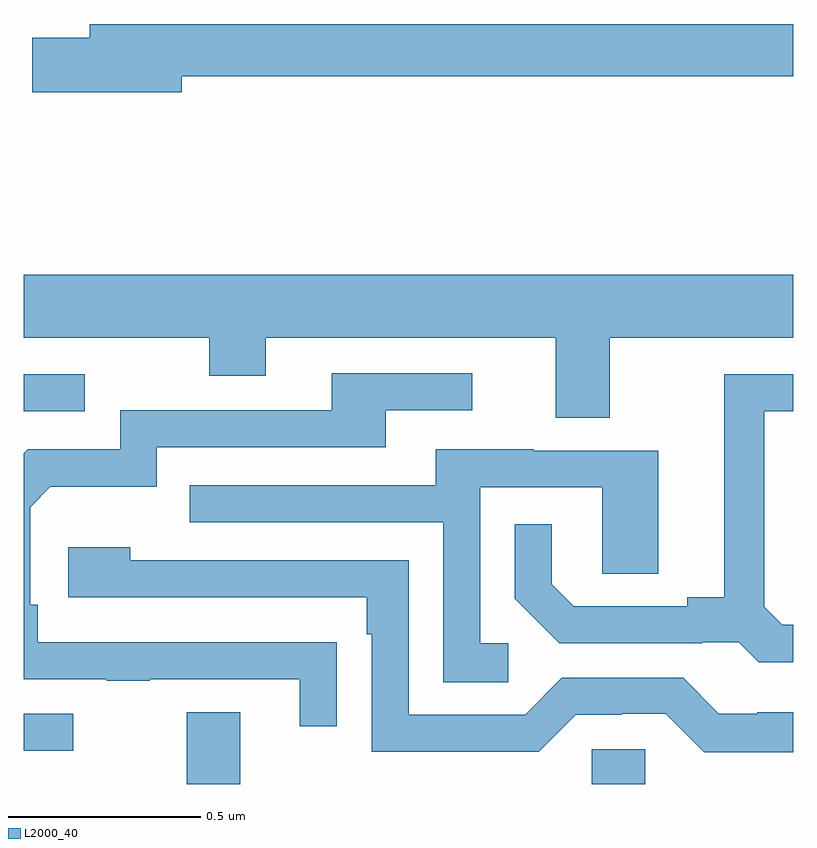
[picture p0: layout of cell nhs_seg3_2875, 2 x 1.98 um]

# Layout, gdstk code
import gdstk
lib = gdstk.Library(unit=1e-6, precision=1e-09)
def R(c, l, rs):  # rectangles x0, y0, x1, y1
    for r in rs: c.add(gdstk.rectangle(r[:2], r[2:], *l))
def P(c, l, *ps):  # polygons
    for p in ps: c.add(gdstk.Polygon(p, *l))
L2000_40 = (2000, 40)

nhs_seg3_2875 = lib.new_cell('nhs_seg3_2875')
R(nhs_seg3_2875, L2000_40, [(146.423,722.4,146.563,722.587), (147.477,722.4,147.615,722.49), (146,722.487,146.128,722.583), (146,723.369,146.158,723.465)])
P(nhs_seg3_2875, L2000_40, [(146.41,724.24),(148,724.24),(148,724.376),(146.171,724.376),(146.171,724.34),(146.022,724.34),(146.022,724.198),(146.41,724.198)],
  [(147.523,723.56),(148,723.56),(148,723.724),(146,723.724),(146,723.56),(146.482,723.56),(146.482,723.461),(146.629,723.461),(146.629,723.56),(147.383,723.56),(147.383,723.352),(147.523,723.352)],
  [(146.813,722.768),(146.711,722.768),(146.711,722.769),(146.036,722.769),(146.036,722.866),(146.016,722.866),(146.016,723.12),(146.069,723.173),(146.346,723.173),(146.346,723.276),(146.941,723.276),(146.941,723.372),(147.166,723.372),(147.166,723.468),(146.801,723.468),(146.801,723.372),(146.25,723.372),(146.25,723.27),(146.01,723.27),(146,723.26),(146,722.673),(146.215,722.673),(146.215,722.668),(146.327,722.668),(146.327,722.673),(146.717,722.673),(146.717,722.55),(146.813,722.55)],
  [(148,722.814),(147.972,722.814),(147.925,722.861),(147.925,723.369),(148,723.369),(148,723.465),(147.821,723.465),(147.821,722.885),(147.725,722.885),(147.725,722.862),(147.43,722.862),(147.373,722.919),(147.373,723.076),(147.276,723.076),(147.276,722.882),(147.392,722.766),(147.764,722.766),(147.764,722.769),(147.858,722.769),(147.91,722.717),(148,722.717)],
  [(147.259,722.766),(147.186,722.766),(147.186,723.171),(147.504,723.171),(147.504,722.947),(147.649,722.947),(147.649,723.267),(147.325,723.267),(147.325,723.271),(147.071,723.271),(147.071,723.177),(146.431,723.177),(146.431,723.081),(147.09,723.081),(147.09,722.665),(147.259,722.665)],
  [(148,722.587),(147.907,722.587),(147.907,722.583),(147.807,722.583),(147.714,722.676),(147.399,722.676),(147.303,722.58),(147,722.58),(147,722.982),(146.276,722.982),(146.276,723.016),(146.115,723.016),(146.115,722.886),(146.891,722.886),(146.891,722.789),(146.904,722.789),(146.904,722.484),(147.339,722.484),(147.435,722.58),(147.554,722.58),(147.554,722.583),(147.669,722.583),(147.769,722.483),(148,722.483)])

lib.write_gds('nhs_seg3_2875.gds')
